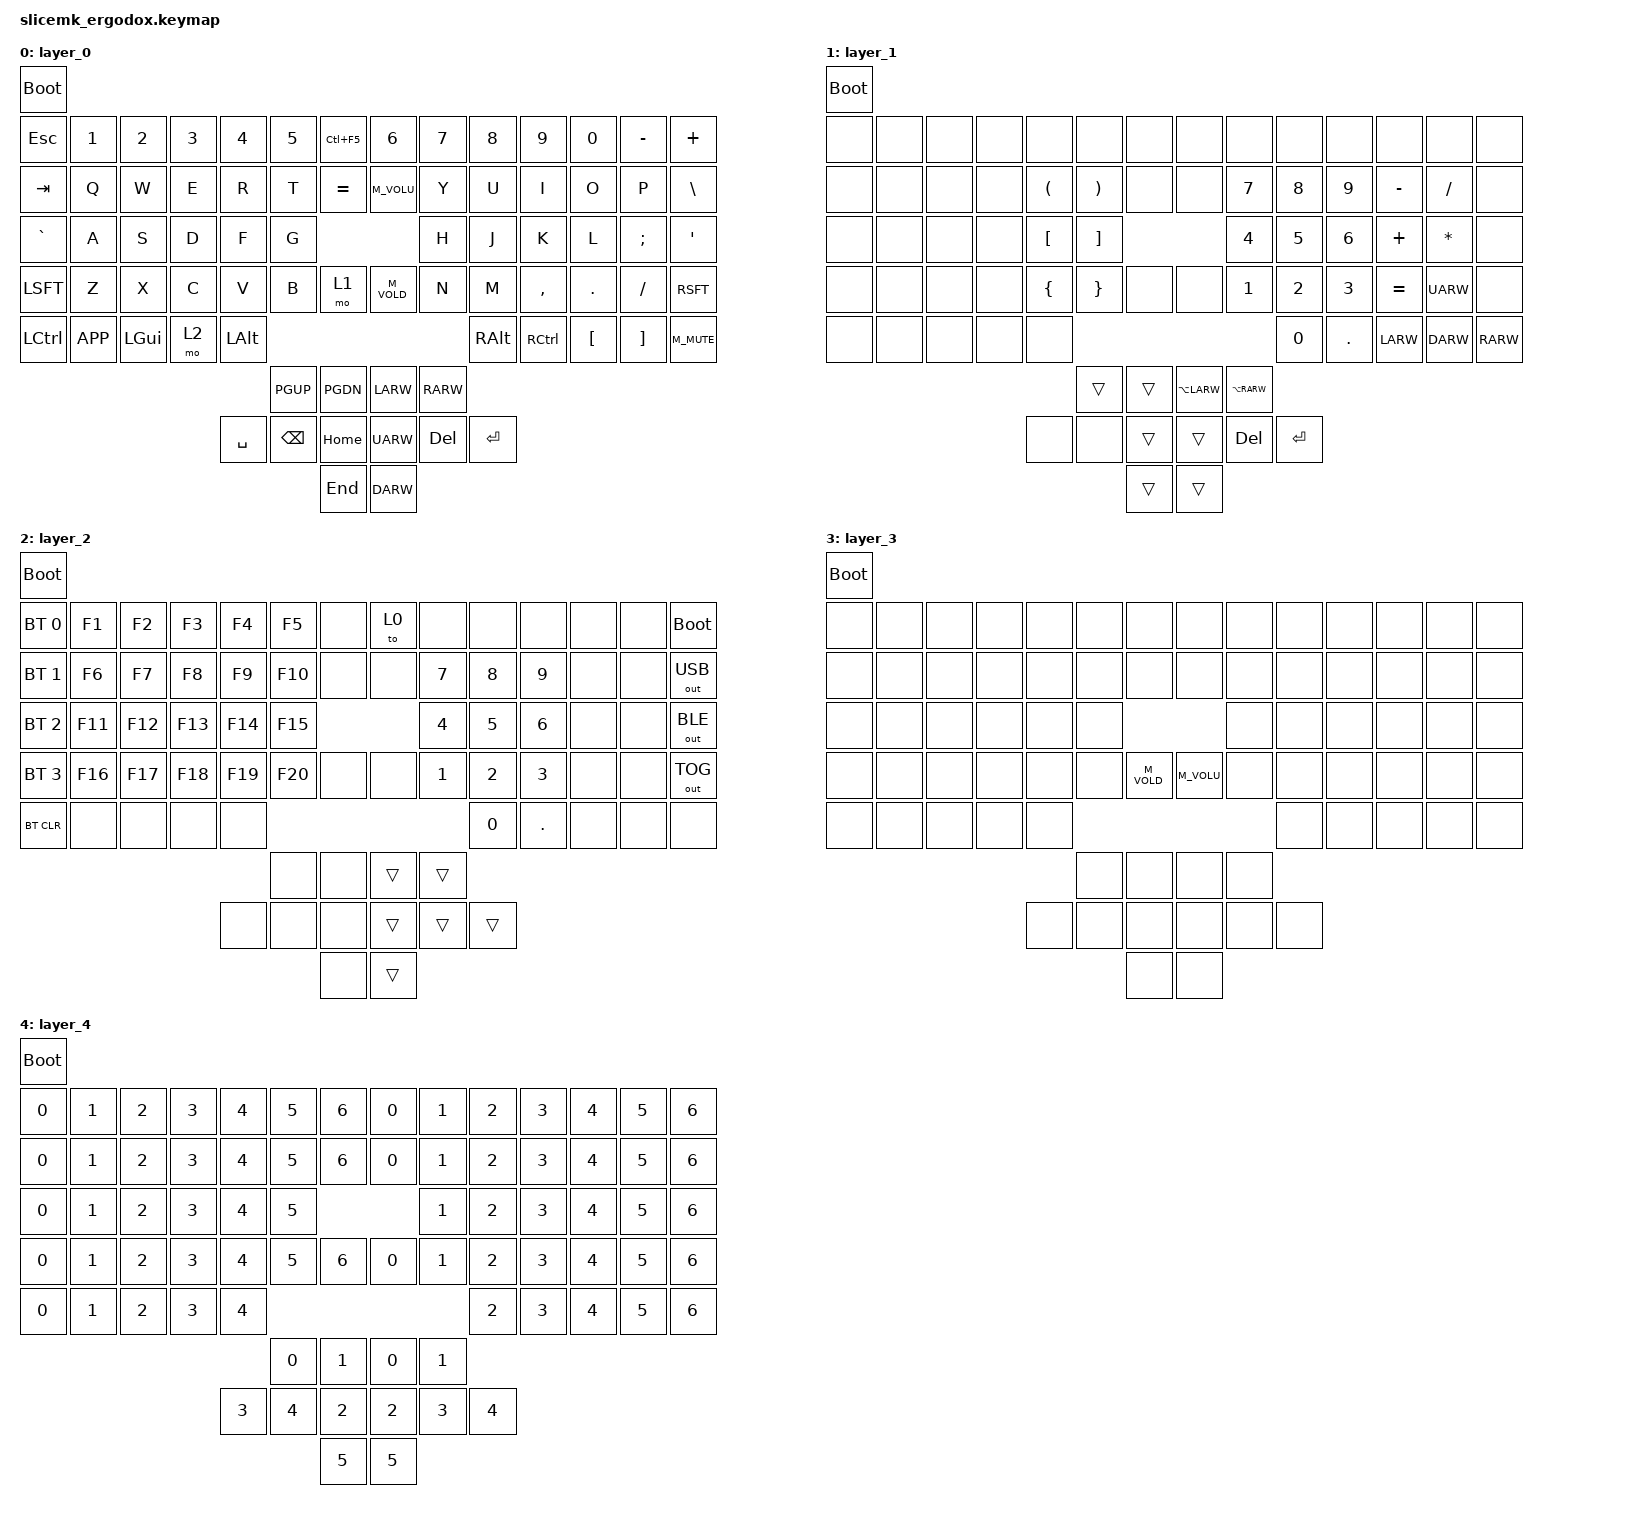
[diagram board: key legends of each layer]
#include <behaviors.dtsi>
#include <dt-bindings/zmk/bt.h>
#include <dt-bindings/zmk/keys.h>
#include <dt-bindings/zmk/outputs.h>

/ {
	keymap {
		compatible = "zmk,keymap";
		layer_0 {
			bindings = <
				&bootloader
				&kp ESC  &kp NUMBER_1 &kp NUMBER_2 &kp NUMBER_3 &kp NUMBER_4 &kp NUMBER_5 &kp LC(F5) &kp NUMBER_6 &kp NUMBER_7 &kp NUMBER_8 &kp NUMBER_9 &kp NUMBER_0 &kp MINUS     &kp PLUS
				&kp TAB  &kp Q        &kp W        &kp E        &kp R        &kp T        &kp EQUAL  &kp M_VOLU   &kp Y        &kp U        &kp I        &kp O        &kp P         &kp BSLH
				&kp GRAV &kp A        &kp S        &kp D        &kp F        &kp G                                &kp H        &kp J        &kp K        &kp L        &kp SEMICOLON &kp QUOT
				&kp LSFT &kp Z        &kp X        &kp C        &kp V        &kp B        &mo 1      &kp M_VOLD   &kp N        &kp M        &kp CMMA     &kp DOT      &kp FSLH      &kp RSFT
				&kp LCTL &kp K_APP    &kp LGUI     &mo 2        &kp LALT                                                       &kp RALT     &kp RCTL     &kp LBKT     &kp RBKT      &kp M_MUTE
				                                                             &kp PGUP     &kp PGDN   &kp LARW     &kp RARW
				                                                &kp SPC      &kp BSPC     &kp HOME   &kp UARW     &kp DEL      &kp RET
				                                                                          &kp END    &kp DARW
			>;
		};
		layer_1 {
			bindings = <
				&bootloader
				&none &none &none &none &none    &none    &none  &none        &none        &none        &none        &none     &none        &none
				&none &none &none &none &kp LPRN &kp RPRN &none  &none        &kp NUMBER_7 &kp NUMBER_8 &kp NUMBER_9 &kp MINUS &kp SLASH    &none
				&none &none &none &none &kp LBKT &kp RBKT                     &kp NUMBER_4 &kp NUMBER_5 &kp NUMBER_6 &kp PLUS  &kp ASTERISK &none
				&none &none &none &none &kp LBRC &kp RBRC &none  &none        &kp NUMBER_1 &kp NUMBER_2 &kp NUMBER_3 &kp EQUAL &kp UARW     &none
				&none &none &none &none &none                                              &kp NUMBER_0 &kp DOT      &kp LARW  &kp DARW     &kp RARW
				                                 &trans   &trans &kp LA(LARW) &kp LA(RARW)
				                        &none    &none    &trans &trans       &kp DEL      &kp RET
				                                          &trans &trans
			>;
		};
		layer_2 {
			bindings = <
				&bootloader
				&bt BT_SEL 0 &kp F1  &kp F2  &kp F3  &kp F4  &kp F5  &none &to 0  &none        &none        &none        &none &none &bootloader
				&bt BT_SEL 1 &kp F6  &kp F7  &kp F8  &kp F9  &kp F10 &none &none  &kp NUMBER_7 &kp NUMBER_8 &kp NUMBER_9 &none &none &out OUT_USB
				&bt BT_SEL 2 &kp F11 &kp F12 &kp F13 &kp F14 &kp F15              &kp NUMBER_4 &kp NUMBER_5 &kp NUMBER_6 &none &none &out OUT_BLE
				&bt BT_SEL 3 &kp F16 &kp F17 &kp F18 &kp F19 &kp F20 &none &none  &kp NUMBER_1 &kp NUMBER_2 &kp NUMBER_3 &none &none &out OUT_TOG
				&bt BT_CLR   &none   &none   &none   &none                                     &kp NUMBER_0 &kp DOT      &none &none &none
				                                             &none   &none &trans &trans
				                                     &none   &none   &none &trans &trans       &trans
				                                                     &none &trans
			>;
		};
		layer_3 {
			bindings = <
				&bootloader
				&none &none &none &none &none &none &none      &none      &none &none &none &none &none &none
				&none &none &none &none &none &none &none      &none      &none &none &none &none &none &none
				&none &none &none &none &none &none                       &none &none &none &none &none &none
				&none &none &none &none &none &none &kp M_VOLD &kp M_VOLU &none &none &none &none &none &none
				&none &none &none &none &none                                   &none &none &none &none &none
				                              &none &none      &none      &none
				                        &none &none &none      &none      &none &none
				                                    &none      &none
			>;
		};
		layer_4 {
			bindings = <
				&bootloader
				&kp NUM_0 &kp NUM_1 &kp NUM_2 &kp NUM_3 &kp NUM_4 &kp NUM_5 &kp NUM_6 &kp NUM_0 &kp NUM_1 &kp NUM_2 &kp NUM_3 &kp NUM_4 &kp NUM_5 &kp NUM_6
				&kp NUM_0 &kp NUM_1 &kp NUM_2 &kp NUM_3 &kp NUM_4 &kp NUM_5 &kp NUM_6 &kp NUM_0 &kp NUM_1 &kp NUM_2 &kp NUM_3 &kp NUM_4 &kp NUM_5 &kp NUM_6
				&kp NUM_0 &kp NUM_1 &kp NUM_2 &kp NUM_3 &kp NUM_4 &kp NUM_5                     &kp NUM_1 &kp NUM_2 &kp NUM_3 &kp NUM_4 &kp NUM_5 &kp NUM_6
				&kp NUM_0 &kp NUM_1 &kp NUM_2 &kp NUM_3 &kp NUM_4 &kp NUM_5 &kp NUM_6 &kp NUM_0 &kp NUM_1 &kp NUM_2 &kp NUM_3 &kp NUM_4 &kp NUM_5 &kp NUM_6
				&kp NUM_0 &kp NUM_1 &kp NUM_2 &kp NUM_3 &kp NUM_4                                         &kp NUM_2 &kp NUM_3 &kp NUM_4 &kp NUM_5 &kp NUM_6
				                                                  &kp NUM_0 &kp NUM_1 &kp NUM_0 &kp NUM_1
				                                        &kp NUM_3 &kp NUM_4 &kp NUM_2 &kp NUM_2 &kp NUM_3 &kp NUM_4
				                                                            &kp NUM_5 &kp NUM_5
			>;
		};
	};
};
